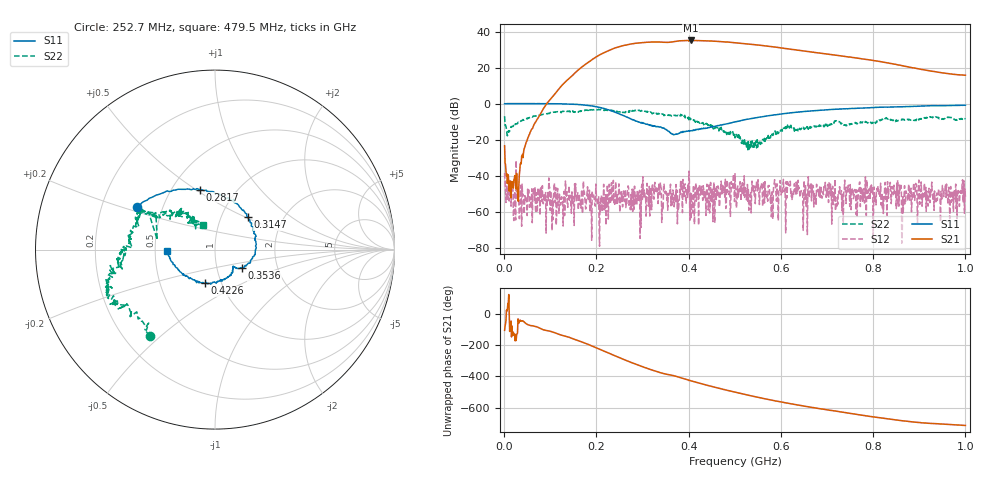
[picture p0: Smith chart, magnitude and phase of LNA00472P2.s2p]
! Created with skrf 1.9.0 (http://scikit-rf.org).
# Hz S RI R 50.0
!freq ReS11 ImS11 ReS21 ImS21 ReS12 ImS12 ReS22 ImS22
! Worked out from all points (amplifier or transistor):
!   1001 points, 1 MHz to 1 GHz, reference 50 ohm
!   highest |S21| = 35.1 dB at 404.6 MHz (marker M1)
!   |S21| within 3 dB of that: 256.1 MHz to 565.8 MHz (309.8 MHz wide, 75.4 % of centre)
!   unconditionally stable (mu >= 1): 178.9 MHz to 198.4 MHz; 241.9 MHz to 300.6 MHz; 300.9 MHz to end of sweep (the widest 3 of 40)
!   at 166.8 MHz: K = 2.68, MAG = 31.9 dB, |S12| = -58.1 dB
!   at 500.5 MHz: K = 1.06, MAG = 34.8 dB, |S12| = -38.9 dB
!   at 1 GHz: K = 5.12, MAG = 23.7 dB, |S12| = -51.7 dB
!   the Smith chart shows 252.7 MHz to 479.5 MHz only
!   S11 on the Smith chart (normalised r, x): 252.7 MHz: 0.36, +0.22; 281.7 MHz: 0.68, +0.52; 314.7 MHz: 1.33, +0.52; 353.6 MHz: 1.32, -0.28; 422.6 MHz: 0.83, -0.33; 479.5 MHz: 0.58, -0.01
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1000000  0.9928 0.0122  -0.0158 -0.0658  -0.00809 -0.00863  0.2899 0.3416
1.08892e8  0.5287 -0.8442  -0.845 -1.585  -0.00193 -0.006  0.4303 -0.378
1.67833e8  -0.2193 -0.9036  -10.25 -0.5096  -0.00334 0.00243  0.0415 -0.6217
2.12788e8  -0.6741 -0.3415  -15.25 19.24  -0.00082 -0.000606  -0.2279 -0.6232
2.31769e8  -0.6357 -0.0268  -7.499 30.85  -0.00149 -0.00151  -0.2998 -0.561
2.52748e8  -0.437 0.2352  8.443 38.33  0.00067 -0.00249  -0.3645 -0.4812
2.81719e8  -0.0851 0.3345  34.09 31.66  -0.000897 -0.000756  -0.5654 -0.2575
3.14686e8  0.1838 0.1816  50.32 6.305  -0.00488 0.00126  -0.5858 -0.1144
3.34666e8  0.2298 0.0111  50.23 -10.63  -0.00195 0.00326  -0.5176 -0.00339
3.53647e8  0.1512 -0.1023  44.69 -22.4  -0.000861 0.00289  -0.4803 0.0674
3.77623e8  0.0999 -0.1059  39.81 -37.68  -2.14e-05 0.00108  -0.4325 0.2059
4.04596e8  0.0315 -0.1722  21.37 -52.48  -0.000283 0.000541  -0.3296 0.1903
4.22578e8  -0.0569 -0.1873  7.064 -55.58  0.0012 0.00417  -0.2101 0.2158
4.49551e8  -0.1775 -0.1404  -13.21 -52.68  -0.00112 0.00156  -0.1234 0.1738
4.79521e8  -0.2695 -0.00554  -30.45 -41.7  0.00794 0.000189  -0.0684 0.1361
5.005e8  -0.2921 0.1143  -38.3 -30.77  0.0113 0.00123  -0.0695 0.0871
5.4046e8  -0.2373 0.3177  -42.55 -9.175  -0.00336 0.00126  -0.0669 -0.0222
5.88412e8  -0.0393 0.488  -35.25 11.14  -0.00109 -0.00457  -0.1465 -0.0676
6.67333e8  0.329 0.5342  -13.69 23.06  -0.0047 0.00289  -0.2406 -0.0152
7.55245e8  0.6354 0.3681  3.208 18.81  5.83e-05 -0.00436  -0.2662 0.0526
8.34166e8  0.789 0.1479  9.167 9.637  -0.00173 0.00426  -0.3784 0.0641
1e9  0.8183 -0.3855  6.133 0.5282  -0.00141 -0.00219  -0.1614 0.3572
